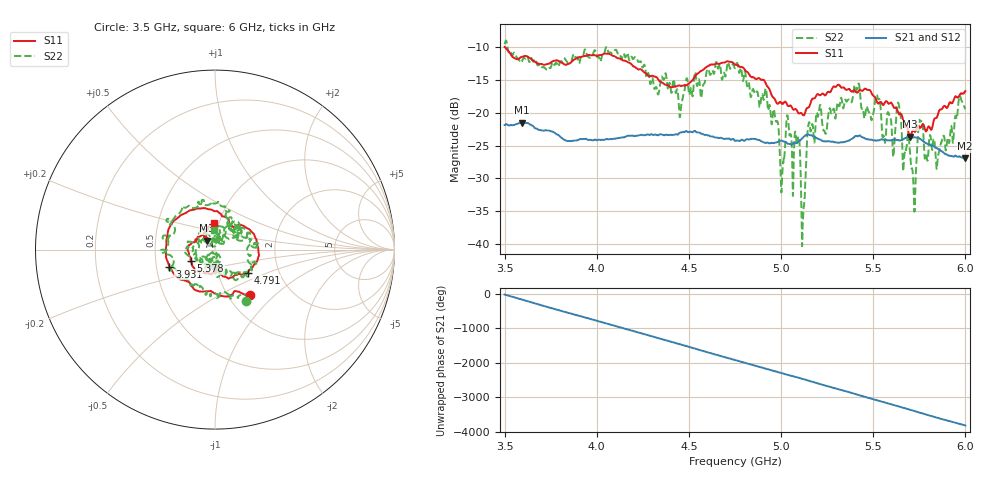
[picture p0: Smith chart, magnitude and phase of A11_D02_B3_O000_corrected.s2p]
! Created with skrf 1.9.0 (http://scikit-rf.org).
# Hz S RI R 50.0
!freq ReS11 ImS11 ReS21 ImS21 ReS12 ImS12 ReS22 ImS22
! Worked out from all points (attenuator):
!   1601 points, 3.5 GHz to 6 GHz, reference 50 ohm
!   highest |S21| = -21.49 dB at 3.592 GHz (marker M1); lowest = -27.0 dB at 5.998 GHz (marker M2)
!   lowest |S11| = -23.6 dB at 5.7 GHz (marker M3), VSWR 1.14, Z = 45.7 + j4.56 ohm
!   |S11| at or under -10 dB: 3.501 GHz to end of sweep
!   |S22| runs from -40.3 to -9.0 dB; largest |S21 - S12| = 0.00095
!   S11 on the Smith chart (normalised r, x): 3.5 GHz: 1.26, -0.71; 3.931 GHz: 0.59, -0.12; 4.791 GHz: 1.38, -0.38; 5.378 GHz: 0.76, -0.10; 6 GHz: 0.95, +0.28
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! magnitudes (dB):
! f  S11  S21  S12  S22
! 3.5 GHz  -10.0  -21.9  -21.8  -9.5
! 3.592 GHz  -11.5  -21.5  -21.5  -12.3
! 3.917 GHz  -11.5  -24.0  -24.0  -11.2
! 3.931 GHz  -11.3  -24.0  -23.9  -10.6
! 4.334 GHz  -15.0  -23.4  -23.3  -17.2
! 4.75 GHz  -12.6  -24.3  -24.2  -13.2
! 4.791 GHz  -13.0  -24.1  -24.1  -14.8
! 4.97 GHz  -18.2  -24.5  -24.5  -21.2
! 5.006 GHz  -18.6  -24.3  -24.2  -29.3
! 5.036 GHz  -18.9  -24.7  -24.6  -20.4
! 5.088 GHz  -19.7  -24.5  -24.5  -24.7
! 5.12 GHz  -20.4  -23.8  -23.7  -35.1
! 5.147 GHz  -19.2  -23.3  -23.3  -22.1
! 5.167 GHz  -18.0  -23.5  -23.4  -21.9
! 5.378 GHz  -16.7  -24.1  -24.1  -18.3
! 5.584 GHz  -18.6  -24.2  -24.2  -20.1
! 5.7 GHz  -23.6  -23.7  -23.7  -26.3
! 5.72 GHz  -22.7  -23.7  -23.7  -32.6
! 5.756 GHz  -22.3  -24.0  -24.0  -21.3
! 5.848 GHz  -20.5  -25.5  -25.4  -27.4
! 5.998 GHz  -16.8  -27.0  -26.9  -19.4
! 6 GHz  -16.7  -27.0  -26.9  -19.4
